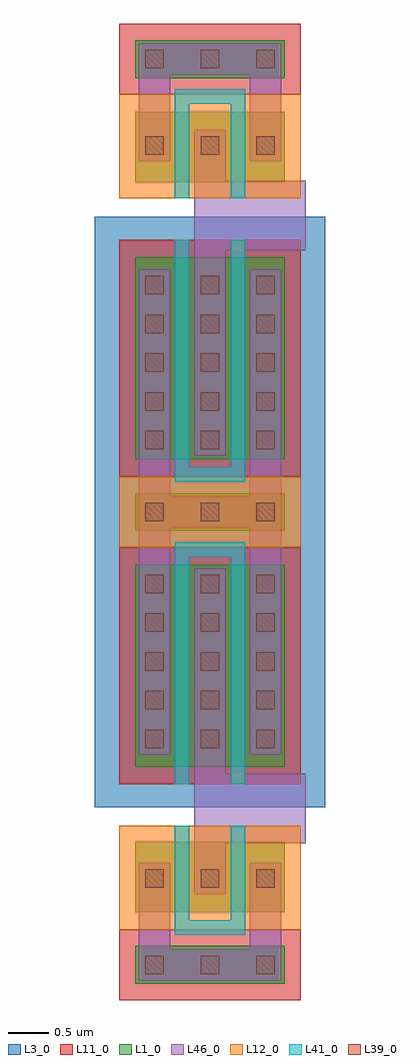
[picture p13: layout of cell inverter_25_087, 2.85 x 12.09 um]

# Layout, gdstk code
import gdstk
lib = gdstk.Library(unit=1e-6, precision=1e-09)
def R(c, l, rs):  # rectangles x0, y0, x1, y1
    for r in rs: c.add(gdstk.rectangle(r[:2], r[2:], *l))
def A(c, l, x, y, w, h, nx, ny, dx, dy):  # array of equal rectangles
    R(c, l, [(x+i*dx, y+j*dy, x+i*dx+w, y+j*dy+h) for i in range(nx) for j in range(ny)])
L1_0 = (1, 0)
L3_0 = (3, 0)
L11_0 = (11, 0)
L12_0 = (12, 0)
L39_0 = (39, 0)
L41_0 = (41, 0)
L46_0 = (46, 0)

inverter_25_087 = lib.new_cell('inverter_25_087')
A(inverter_25_087, L1_0, -1.965, -2.095, 1.85, 0.47, 1, 3, 0, 5.61)
R(inverter_25_087, L1_0, [(-1.965,-1.205,-0.115,-0.335), (-1.965,0.595,-0.115,3.095), (-1.965,4.405,-0.115,6.905), (-1.965,7.835,-0.115,8.705)])
R(inverter_25_087, L3_0, [(-2.465,0.095,0.385,7.405)])
R(inverter_25_087, L11_0, [(-2.165,-2.295,0.085,-1.425), (-2.165,0.375,0.085,3.315), (-2.165,4.185,0.085,7.125), (-2.165,8.925,0.085,9.795)])
R(inverter_25_087, L12_0, [(-2.165,-1.425,0.085,-0.135), (-2.165,3.315,0.085,4.185), (-2.165,7.635,0.085,8.925)])
A(inverter_25_087, L39_0, -1.845, -1.975, 0.23, 0.23, 3, 2, 0.69, 1.07)
A(inverter_25_087, L39_0, -1.845, 0.825, 0.23, 0.23, 3, 5, 0.69, 0.48)
A(inverter_25_087, L39_0, -1.845, 3.635, 0.23, 0.23, 3, 2, 0.69, 0.89)
A(inverter_25_087, L39_0, -1.845, 5.005, 0.23, 0.23, 3, 4, 0.69, 0.48)
A(inverter_25_087, L39_0, -1.845, 8.175, 0.23, 0.23, 3, 2, 0.69, 1.07)
R(inverter_25_087, L41_0, [(-1.475,-1.485,-1.295,-0.135), (-1.475,-1.485,-0.605,-1.305), (-0.785,-1.485,-0.605,-0.135), (-1.475,0.375,-1.295,3.375), (-0.785,0.375,-0.605,3.375), (-1.475,3.195,-0.605,3.375), (-1.475,4.125,-0.605,4.305), (-1.475,4.125,-1.295,7.125), (-0.785,4.125,-0.605,7.125), (-1.475,7.635,-1.295,8.985), (-0.785,7.635,-0.605,8.985), (-1.475,8.805,-0.605,8.985)])
A(inverter_25_087, L46_0, -1.925, -2.055, 1.77, 0.39, 1, 3, 0, 5.61)
R(inverter_25_087, L46_0, [(-1.925,-2.055,-1.535,-0.595), (-0.545,-2.055,-0.155,-0.595), (-1.235,-0.985,-0.845,3.055), (-1.235,-0.355,0.145,0.505), (-1.925,0.745,-1.535,3.945), (-0.545,0.745,-0.155,3.945), (-1.925,3.555,-1.535,6.755), (-0.545,3.555,-0.155,6.755), (-1.235,4.445,-0.845,8.485), (-1.235,6.995,0.145,7.855), (-1.925,8.095,-1.535,9.555), (-0.545,8.095,-0.155,9.555)])

lib.write_gds('inverter_25_087.gds')
